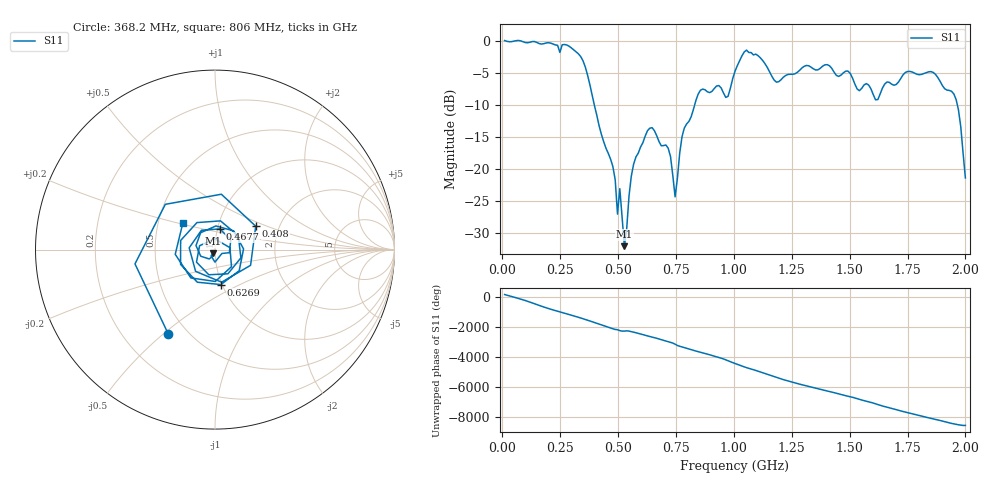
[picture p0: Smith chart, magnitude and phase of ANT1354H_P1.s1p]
!Created with skrf (http://scikit-rf.org).
# Hz S RI R 50.0
!freq ReS11 ImS11
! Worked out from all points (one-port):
!   201 points, 10 MHz to 2 GHz, reference 50 ohm
!   lowest |S11| = -32.1 dB at 527.4 MHz (marker M1), VSWR 1.05, Z = 48.7 - j2.06 ohm
!   |S11| at or under -10 dB: 397.1 MHz to 831.2 MHz (434.2 MHz wide, 70.7 % of centre); 1.965 GHz to end of sweep
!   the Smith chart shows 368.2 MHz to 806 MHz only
!   S11 on the Smith chart (normalised r, x): 368.2 MHz: 0.39, -0.52; 408 MHz: 1.52, +0.42; 467.7 MHz: 1.03, +0.24; 626.9 MHz: 0.99, -0.40; 806 MHz: 0.67, +0.21
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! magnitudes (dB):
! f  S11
! 10 MHz  0.0
! 258.8 MHz  -0.7
! 368.2 MHz  -5.4
! 408 MHz  -11.6
! 467.7 MHz  -18.5
! 487.6 MHz  -21.7
! 497.6 MHz  -27.1
! 507.5 MHz  -23.1
! 527.4 MHz  -32.1
! 567.2 MHz  -19.3
! 626.9 MHz  -14.1
! 716.5 MHz  -16.8
! 746.3 MHz  -24.4
! 756.2 MHz  -21.5
! 776.1 MHz  -15.0
! 806 MHz  -12.6
! 855.8 MHz  -7.8
! 975.1 MHz  -8.7
! 1.005 GHz  -4.8
! 1.055 GHz  -1.5
! 1.184 GHz  -6.5
! 1.254 GHz  -5.3
! 1.502 GHz  -5.1
! 1.612 GHz  -9.3
! 1.751 GHz  -4.8
! 1.95 GHz  -8.4
! 1.97 GHz  -10.8
! 2 GHz  -21.5
